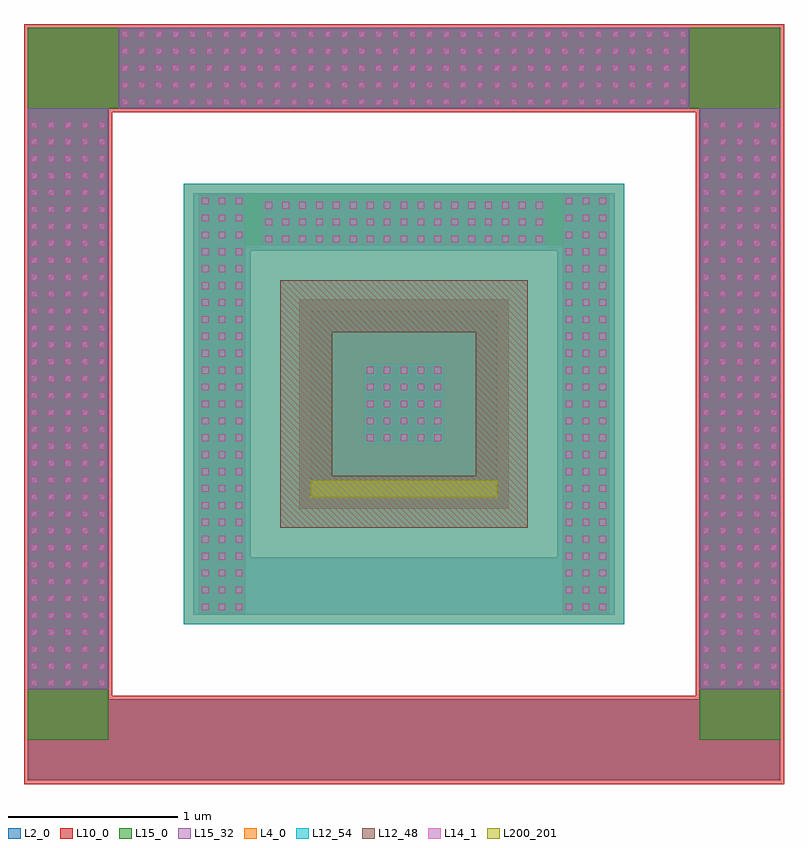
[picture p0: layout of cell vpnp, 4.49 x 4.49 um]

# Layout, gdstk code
import gdstk
lib = gdstk.Library(unit=1e-6, precision=1e-09)
def R(c, l, rs):  # rectangles x0, y0, x1, y1
    for r in rs: c.add(gdstk.rectangle(r[:2], r[2:], *l))
def A(c, l, x, y, w, h, nx, ny, dx, dy):  # array of equal rectangles
    R(c, l, [(x+i*dx, y+j*dy, x+i*dx+w, y+j*dy+h) for i in range(nx) for j in range(ny)])
L2_0 = (2, 0)
L4_0 = (4, 0)
L10_0 = (10, 0)
L12_48 = (12, 48)
L12_54 = (12, 54)
L14_1 = (14, 1)
L15_0 = (15, 0)
L15_32 = (15, 32)
L200_201 = (200, 201)

vpnp = lib.new_cell('vpnp')
R(vpnp, L2_0, [(-8.729,-0.759,-4.277,-0.279), (-8.729,-0.279,-8.249,3.213), (-4.757,-0.279,-4.277,3.213), (-7.749,0.221,-5.257,0.561), (-7.749,0.561,-7.409,2.373), (-5.597,0.561,-5.257,2.373), (-7.053,0.917,-5.953,2.017), (-7.749,2.373,-5.257,2.713), (-8.729,3.213,-4.277,3.693)])
R(vpnp, L4_0, [(-7.805,0.165,-5.201,2.769)])
R(vpnp, L10_0, [(-8.75,-0.78,-4.256,-0.258), (-8.75,-0.258,-8.228,3.192), (-4.778,-0.258,-4.256,3.192), (-7.123,0.847,-5.883,2.087), (-8.75,3.192,-4.256,3.714)])
R(vpnp, L12_48, [(-7.234,0.736,-5.772,1.042), (-7.234,1.042,-6.928,1.892), (-6.078,1.042,-5.772,1.892), (-7.234,1.892,-5.772,2.198)])
R(vpnp, L12_54, [(-7.805,0.165,-5.201,2.769)])
A(vpnp, L14_1, -8.709, -0.203, 0.04, 0.04, 5, 34, 0.1, 0.1)
A(vpnp, L14_1, -4.737, -0.203, 0.04, 0.04, 5, 34, 0.1, 0.1)
A(vpnp, L14_1, -7.699, 0.247, 0.04, 0.04, 3, 25, 0.1, 0.1)
A(vpnp, L14_1, -5.547, 0.247, 0.04, 0.04, 3, 25, 0.1, 0.1)
A(vpnp, L14_1, -6.723, 1.247, 0.04, 0.04, 5, 5, 0.1, 0.1)
A(vpnp, L14_1, -7.323, 2.423, 0.04, 0.04, 17, 3, 0.1, 0.1)
A(vpnp, L14_1, -8.173, 3.233, 0.04, 0.04, 34, 5, 0.1, 0.1)
R(vpnp, L15_0, [(-8.727,-0.519,-8.251,3.691), (-4.755,-0.519,-4.279,3.691), (-7.717,0.229,-7.441,2.705), (-5.565,0.229,-5.289,2.705), (-6.741,1.229,-6.265,1.705), (-7.441,2.405,-5.565,2.705), (-8.251,3.215,-4.755,3.691)])
R(vpnp, L15_32, [(-8.727,-0.221,-8.251,3.215), (-4.755,-0.221,-4.279,3.215), (-7.717,0.229,-7.441,2.705), (-5.565,0.229,-5.289,2.705), (-6.741,1.229,-6.265,1.705), (-7.341,2.405,-5.665,2.681), (-8.191,3.215,-4.815,3.691)])
R(vpnp, L200_201, [(-7.053,0.917,-5.953,1.017)])

lib.write_gds('vpnp.gds')
